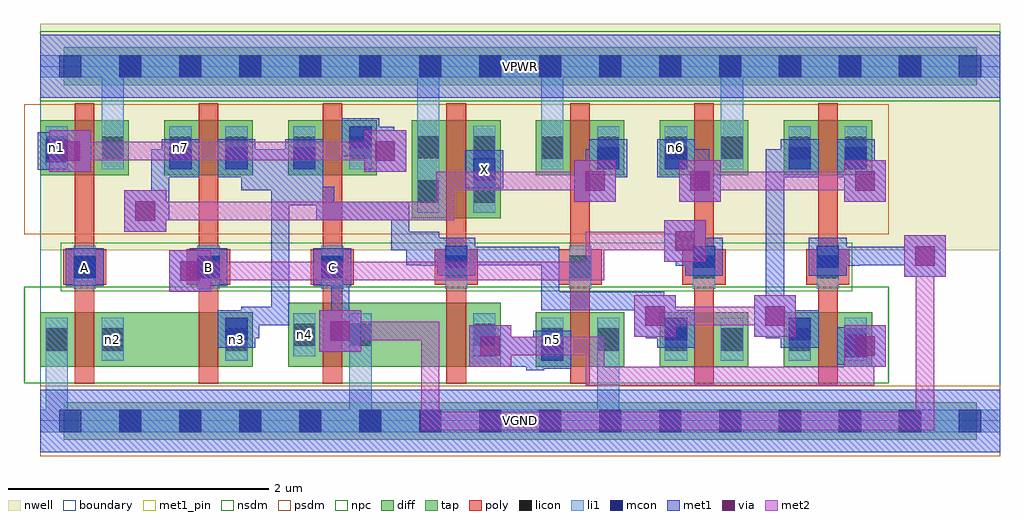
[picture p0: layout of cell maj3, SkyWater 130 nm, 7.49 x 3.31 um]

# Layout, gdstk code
import gdstk
lib = gdstk.Library(unit=1e-6, precision=1e-09)
def R(c, l, rs):  # rectangles x0, y0, x1, y1
    for r in rs: c.add(gdstk.rectangle(r[:2], r[2:], *l))
def A(c, l, x, y, w, h, nx, ny, dx, dy):  # array of equal rectangles
    R(c, l, [(x+i*dx, y+j*dy, x+i*dx+w, y+j*dy+h) for i in range(nx) for j in range(ny)])
nwell = (64, 20)
diff = (65, 20)
tap = (65, 44)
poly = (66, 20)
licon = (66, 44)
li1 = (67, 20)
mcon = (67, 44)
met1_pin = (68, 16)
met1 = (68, 20)
via = (68, 44)
met2 = (69, 20)
nsdm = (93, 44)
psdm = (94, 20)
npc = (95, 20)
boundary = (235, 4)

maj3 = lib.new_cell('maj3')
R(maj3, nwell, [(0,1.31,7.36,3.045)])
A(maj3, diff, 3.8, 0.415, 0.68, 0.42, 3, 2, 0.95, 1.47)
A(maj3, diff, 0, 1.885, 0.68, 0.42, 3, 1, 0.95, 0)
R(maj3, diff, [(0,0.415,1.63,0.835), (1.9,0.415,3.53,0.905), (2.85,1.555,3.53,2.305)])
R(maj3, tap, [(0.18,-0.145,7.18,0.145), (0.18,2.575,7.18,2.865)])
A(maj3, poly, 0.265, 0.285, 0.15, 2.15, 7, 1, 0.95, 0)
A(maj3, poly, 0.175, 1.045, 0.33, 0.27, 7, 1, 0.95, 0)
A(maj3, licon, 0.605, -0.085, 0.17, 0.17, 14, 2, 0.46, 2.72)
A(maj3, licon, 0.255, 1.095, 0.17, 0.17, 7, 1, 0.95, 0)
R(maj3, licon, [(0.04,0.54,0.21,0.71), (0.47,0.54,0.64,0.71), (1.42,0.54,1.59,0.71), (3.84,0.54,4.01,0.71), (4.27,0.54,4.44,0.71), (4.79,0.54,4.96,0.71), (5.22,0.54,5.39,0.71), (5.74,0.54,5.91,0.71), (6.17,0.54,6.34,0.71), (1.94,0.575,2.11,0.745), (2.37,0.575,2.54,0.745), (3.32,0.575,3.49,0.745), (2.89,1.675,3.06,1.845), (3.32,1.675,3.49,1.845), (0.04,2.01,0.21,2.18), (0.47,2.01,0.64,2.18), (0.99,2.01,1.16,2.18), (1.42,2.01,1.59,2.18), (1.94,2.01,2.11,2.18), (2.37,2.01,2.54,2.18), (3.84,2.01,4.01,2.18), (4.27,2.01,4.44,2.18), (4.79,2.01,4.96,2.18), (5.22,2.01,5.39,2.18), (5.74,2.01,5.91,2.18), (6.17,2.01,6.34,2.18), (2.89,2.015,3.06,2.185), (3.32,2.015,3.49,2.185)])
A(maj3, li1, 0.255, 1.015, 0.17, 0.33, 7, 1, 0.95, 0)
R(maj3, li1, [(0,-0.085,7.36,0.085), (0.04,-0.085,0.21,0.79), (2.37,-0.085,2.54,0.825), (4.27,-0.085,4.44,0.79), (0.04,0.46,0.21,0.79), (0.47,0.46,0.64,0.79), (1.42,0.46,1.59,0.79), (3.84,0.46,4.01,0.79), (4.27,0.46,4.44,0.79), (4.79,0.46,4.96,0.79), (5.22,0.46,5.39,0.79), (5.74,0.46,5.91,0.79), (6.17,0.46,6.34,0.79), (1.94,0.495,2.11,0.825), (2.37,0.495,2.54,0.825), (3.32,0.495,3.49,0.825), (2.89,1.595,3.06,2.265), (2.89,1.595,3.06,2.805), (3.32,1.595,3.49,2.265), (0.04,1.93,0.21,2.26), (0.47,1.93,0.64,2.26), (0.47,1.93,0.64,2.805), (0.99,1.93,1.16,2.26), (1.42,1.93,1.59,2.26), (1.94,1.93,2.11,2.26), (2.37,1.93,2.54,2.26), (3.84,1.93,4.01,2.26), (3.84,1.93,4.01,2.805), (4.27,1.93,4.44,2.26), (4.79,1.93,4.96,2.26), (5.22,1.93,5.39,2.26), (5.22,1.93,5.39,2.805), (5.74,1.93,5.91,2.26), (6.17,1.93,6.34,2.26), (0,2.635,7.36,2.805)])
A(maj3, mcon, 0.145, -0.085, 0.17, 0.17, 16, 2, 0.46, 2.72)
A(maj3, mcon, 0.255, 1.095, 0.17, 0.17, 3, 1, 0.95, 0)
R(maj3, mcon, [(3.84,0.46,4.01,0.63), (6.17,0.49,6.34,0.66), (1.42,0.62,1.59,0.79), (4.79,0.62,4.96,0.79), (5.74,0.62,5.91,0.79), (3.105,1.175,3.275,1.345), (5.005,1.175,5.175,1.345), (5.955,1.175,6.125,1.345), (3.32,1.845,3.49,2.015), (0.99,1.93,1.16,2.1), (1.42,1.93,1.59,2.1), (1.94,1.93,2.11,2.1), (4.27,1.93,4.44,2.1), (4.79,1.93,4.96,2.1), (5.74,1.93,5.91,2.1), (6.17,1.93,6.34,2.1), (0.04,1.985,0.21,2.155), (2.37,2.09,2.54,2.26)])
A(maj3, met1_pin, 0.195, 1.035, 0.29, 0.29, 3, 1, 0.95, 0)
R(maj3, met1_pin, [(0,-0.24,7.36,0.24), (3.26,1.785,3.55,2.075), (0,2.48,7.36,2.96)])
A(maj3, met1, 0.195, 1.035, 0.29, 0.29, 3, 1, 0.95, 0)
R(maj3, met1, [(0,-0.24,7.36,0.24), (3.725,0.39,3.865,0.645), (3.725,0.39,3.865,0.615), (3.78,0.4,4.07,0.69), (3.29,0.415,3.61,0.735), (3.61,0.415,3.725,0.615), (3.61,0.415,3.725,0.645), (6.165,0.415,6.485,0.735), (6.11,0.43,6.4,0.72), (3.61,0.475,3.725,0.615), (3.725,0.475,3.995,0.615), (3.38,0.505,3.865,0.645), (6.185,0.505,6.395,0.645), (2.14,0.53,2.46,0.85), (1.36,0.56,1.65,0.85), (4.73,0.56,5.02,0.85), (5.68,0.56,5.97,0.85), (2.23,0.62,2.37,1.22), (1.435,0.635,1.68,0.775), (1.54,0.635,1.68,0.875), (4.645,0.635,4.785,0.875), (4.645,0.635,4.945,0.775), (5.565,0.635,5.895,0.775), (5.565,0.635,5.705,0.875), (4.555,0.645,4.875,0.965), (5.475,0.645,5.795,0.965), (1.54,0.735,1.91,0.875), (1.77,0.735,1.91,1.91), (4.645,0.735,4.785,0.99), (5.565,0.735,5.705,1.91), (3.84,0.85,3.98,1.335), (3.84,0.85,4.785,0.99), (0.99,0.99,1.31,1.31), (1.08,1.08,1.335,1.22), (1.195,1.08,1.335,1.22), (2.23,1.08,2.37,1.22), (6.625,1.105,6.945,1.425), (3.045,1.115,3.335,1.405), (4.945,1.115,5.235,1.405), (5.895,1.115,6.185,1.405), (2.92,1.19,3.06,1.45), (2.92,1.19,3.26,1.33), (4.875,1.19,5.015,1.45), (4.875,1.19,5.16,1.33), (5.97,1.19,6.28,1.33), (6.14,1.19,6.28,1.335), (2.805,1.195,2.945,1.45), (2.805,1.195,3.98,1.335), (6.14,1.195,6.855,1.335), (4.785,1.22,5.105,1.54), (2.69,1.31,2.83,1.68), (2.69,1.31,3.06,1.45), (0.645,1.45,0.965,1.77), (0.735,1.54,0.99,1.68), (0.85,1.54,0.99,1.91), (2.115,1.54,2.255,1.795), (2.115,1.54,2.83,1.68), (1.91,1.655,2,1.795), (1.91,1.655,2,1.91), (2,1.655,2.14,2.025), (2,1.655,2.255,1.795), (4.095,1.68,4.415,2), (4.9,1.68,5.22,2), (6.165,1.68,6.485,2), (0.85,1.77,0.99,2.085), (1.54,1.77,1.91,1.91), (1.54,1.77,1.68,2.085), (1.68,1.77,1.77,2.085), (1.77,1.77,1.91,2.025), (1.77,1.77,1.91,2.085), (1.91,1.77,2,1.91), (1.91,1.77,2,2.025), (1.91,1.77,2,1.795), (4.185,1.77,4.325,2.085), (4.99,1.77,5.13,2.085), (5.565,1.77,5.705,2.085), (6.255,1.77,6.395,2.085), (3.26,1.785,3.55,2.075), (2,1.795,2.17,1.87), (2.115,1.795,2.17,1.87), (0.93,1.87,1.22,2.16), (1.36,1.87,1.65,2.16), (1.65,1.87,1.77,2.085), (1.88,1.87,2.17,2.16), (4.21,1.87,4.5,2.16), (4.73,1.87,5.02,2.16), (5.68,1.87,5.97,2.16), (6.11,1.87,6.4,2.16), (1.77,1.885,2.14,2.025), (0.07,1.91,0.39,2.23), (2.485,1.91,2.805,2.23), (-0.02,1.925,0.27,2.215), (0.85,1.945,1.145,2.085), (1.435,1.945,1.68,2.085), (1.65,1.945,1.77,2.085), (1.68,1.945,1.77,2.085), (1.77,1.945,2.095,2.085), (4.185,1.945,4.425,2.085), (4.805,1.945,5.13,2.085), (5.565,1.945,5.895,2.085), (6.185,1.945,6.395,2.085), (0.055,2,0.3,2.14), (2.575,2,2.715,2.255), (2.31,2.03,2.6,2.32), (2.385,2.105,2.715,2.245), (2.575,2.105,2.715,2.255), (0,2.48,7.36,2.96)])
R(maj3, via, [(3.375,0.5,3.525,0.65), (6.25,0.5,6.4,0.65), (2.225,0.615,2.375,0.765), (4.64,0.73,4.79,0.88), (5.56,0.73,5.71,0.88), (1.075,1.075,1.225,1.225), (6.71,1.19,6.86,1.34), (4.87,1.305,5.02,1.455), (0.73,1.535,0.88,1.685), (4.18,1.765,4.33,1.915), (4.985,1.765,5.135,1.915), (6.25,1.765,6.4,1.915), (0.155,1.995,0.305,2.145), (2.57,1.995,2.72,2.145)])
R(maj3, met2, [(2.92,-0.07,3.06,0.76), (2.92,-0.07,6.855,0.07), (6.715,-0.07,6.855,1.335), (4.185,0.275,4.325,0.645), (4.185,0.275,6.395,0.415), (6.255,0.275,6.395,0.645), (3.29,0.415,3.61,0.735), (6.165,0.415,6.485,0.735), (3.38,0.505,4.325,0.645), (2.14,0.53,2.46,0.85), (2.23,0.62,3.06,0.76), (4.555,0.645,4.875,0.965), (5.475,0.645,5.795,0.965), (4.645,0.735,5.705,0.875), (0.99,0.99,1.31,1.31), (1.08,1.08,4.325,1.22), (4.185,1.08,4.325,1.45), (6.625,1.105,6.945,1.425), (4.785,1.22,5.105,1.54), (4.185,1.31,5.015,1.45), (0.645,1.45,0.965,1.77), (0.735,1.54,3.175,1.68), (3.035,1.54,3.175,1.91), (4.095,1.68,4.415,2), (4.9,1.68,5.22,2), (6.165,1.68,6.485,2), (3.035,1.77,4.325,1.91), (4.99,1.77,6.395,1.91), (0.07,1.91,0.39,2.23), (2.485,1.91,2.805,2.23), (0.16,2,2.715,2.14)])
R(maj3, nsdm, [(-0.125,0.29,6.505,1.03), (0,2.45,7.36,2.99)])
R(maj3, psdm, [(0,-0.27,7.36,0.27), (-0.125,1.43,6.505,2.43)])
R(maj3, npc, [(0.155,0.995,6.225,1.365)])
R(maj3, boundary, [(0,0,7.36,2.72)])
maj3.add(gdstk.Label('n2', (0.555,0.625), layer=67, texttype=5))
maj3.add(gdstk.Label('n3', (1.505,0.625), layer=67, texttype=5))
maj3.add(gdstk.Label('n4', (2.025,0.66), layer=67, texttype=5))
maj3.add(gdstk.Label('n5', (3.925,0.625), layer=67, texttype=5))
maj3.add(gdstk.Label('n1', (0.125,2.095), layer=67, texttype=5))
maj3.add(gdstk.Label('n7', (1.075,2.095), layer=67, texttype=5))
maj3.add(gdstk.Label('n6', (4.875,2.095), layer=67, texttype=5))
maj3.add(gdstk.Label('A', (0.34,1.18), layer=68, texttype=5))
maj3.add(gdstk.Label('B', (1.29,1.18), layer=68, texttype=5))
maj3.add(gdstk.Label('C', (2.24,1.18), layer=68, texttype=5))
maj3.add(gdstk.Label('X', (3.405,1.93), layer=68, texttype=5))
maj3.add(gdstk.Label('VPWR', (3.68,2.72), layer=68, texttype=5))
maj3.add(gdstk.Label('VGND', (3.68,0), layer=68, texttype=5))
maj3.add(gdstk.Label('A', (0.34,1.18), layer=68, texttype=16))
maj3.add(gdstk.Label('B', (1.29,1.18), layer=68, texttype=16))
maj3.add(gdstk.Label('C', (2.24,1.18), layer=68, texttype=16))
maj3.add(gdstk.Label('X', (3.405,1.93), layer=68, texttype=16))
maj3.add(gdstk.Label('VPWR', (3.68,2.72), layer=68, texttype=16))
maj3.add(gdstk.Label('VGND', (3.68,0), layer=68, texttype=16))

lib.write_gds('maj3.gds')
